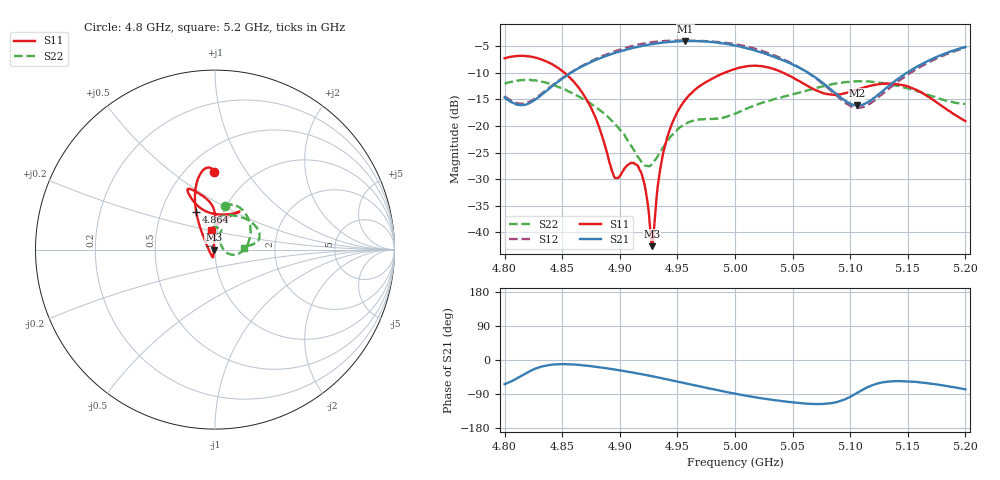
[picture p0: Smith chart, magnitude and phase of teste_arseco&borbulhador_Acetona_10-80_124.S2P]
! Network Analyzer HP8722D
! Hewlett-Packard
! Data name: Linha & Wilkinson
! Saver's name: Rodrigo Anjos
! Comments: Teste da utilização de aquisição
! continua pelo VNA HP8722D
! Time and date: 25/4/2025 16:18
!  Frequency  S11  S21  S12  S22
# HZ  S  MA R 50
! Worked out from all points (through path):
!   401 points, 4.8 GHz to 5.2 GHz, reference 50 ohm
!   highest |S21| = -3.98 dB at 4.957 GHz (marker M1); lowest = -16.1 dB at 5.106 GHz (marker M2)
!   lowest |S11| = -42.7 dB at 4.928 GHz (marker M3), VSWR 1.01, Z = 49.3 - j0.057 ohm
!   |S11| at or under -10 dB: 4.852 GHz to 4.991 GHz (138.4 MHz wide, 2.81 % of centre); 5.042 GHz to end of sweep
!   |S22| runs from -27.6 to -11.3 dB; largest |S21 - S12| = 1.2
!   S11 on the Smith chart (normalised r, x): 4.8 GHz: 0.67, +0.72; 4.864 GHz: 0.75, +0.33; 5.2 GHz: 0.94, +0.21
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4.8e9  0.435 90.8  0.1859 -63.7  0.1907 69.7  0.2508 77.3
4.82e9  0.4532 97.0  0.1613 -32.5  0.1672 98.4  0.2717 61.8
4.843e9  0.372 106.3  0.2452 -11.9  0.2494 118.9  0.2426 36.8
4.864e9  0.2322 116.7  0.3495 -12.8  0.3525 121.0  0.1902 12.0
4.867e9  0.209 118.4  0.3635 -13.7  0.3679 120.7  0.1826 8.9
4.88e9  0.1118 128.7  0.423 -18.3  0.433 118.3  0.1483 -5.2
4.895e9  0.03321 -174.4  0.4856 -24.7  0.502 113.7  0.1069 -15.7
4.91e9  0.04475 -106.5  0.5392 -32.6  0.5647 107.1  0.06478 -13.6
4.917e9  0.03899 -103.1  0.5597 -36.3  0.5892 103.6  0.04895 -1.2
4.922e9  0.02641 -107.5  0.5765 -39.0  0.6024 100.8  0.0423 15.5
4.928e9  0.007365 -175.5  0.5912 -42.8  0.6166 97.1  0.0436 40.6
4.93e9  0.01184 124.1  0.597 -44.1  0.6197 95.8  0.04677 48.1
4.934e9  0.03249 99.9  0.6031 -46.7  0.6296 93.2  0.05463 58.2
4.943e9  0.08999 90.9  0.6198 -52.4  0.6368 87.4  0.0767 68.9
4.957e9  0.1772 89.5  0.6327 -61.4  0.6394 78.6  0.1051 71.5
5e9  0.3453 109.1  0.5736 -89.0  0.5924 50.8  0.1307 88.7
5.03e9  0.3536 115.2  0.4648 -104.2  0.4817 33.7  0.1732 85.6
5.067e9  0.2265 105.4  0.3009 -115.9  0.2984 23.7  0.2222 57.0
5.106e9  0.22 64.7  0.1563 -86.9  0.1481 55.9  0.2637 24.8
5.134e9  0.251 57.3  0.2406 -56.7  0.2263 88.7  0.248 12.4
5.168e9  0.1883 69.4  0.4133 -61.7  0.3967 85.2  0.1963 6.9
5.2e9  0.1112 100.6  0.5558 -77.4  0.5455 70.2  0.1614 3.8
